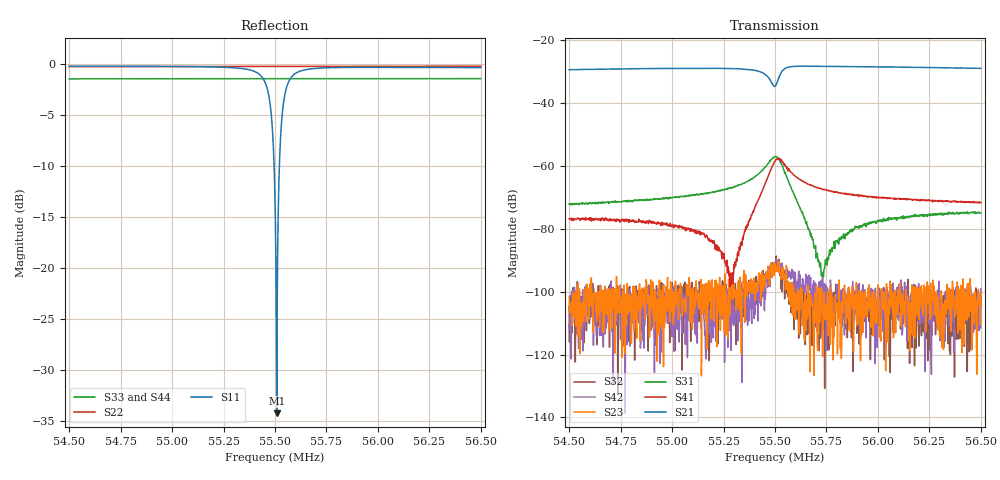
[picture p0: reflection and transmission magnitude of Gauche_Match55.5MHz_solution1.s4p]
#  HZ  S  DB  R  50.00
! Rohde & Schwarz Vector Network Analyzer
! Rohde-Schwarz,ZNB8-4Port,1311601044102961,2.82
! Created: UTC 1/15/2019, 2:38:53 PM
! freq[Hz]  db:S11  ang:S11  db:S12  ang:S12  db:S13  ang:S13  db:S14  ang:S14
!  db:S21  ang:S21  db:S22  ang:S22  db:S23  ang:S23  db:S24  ang:S24
!  db:S31  ang:S31  db:S32  ang:S32  db:S33  ang:S33  db:S34  ang:S34
!  db:S41  ang:S41  db:S42  ang:S42  db:S43  ang:S43  db:S44  ang:S44
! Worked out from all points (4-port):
!   1000 points, 54.5 MHz to 56.5 MHz, reference 50 ohm
!   strongest paths, dB at 54.5 MHz, 55.001 MHz, 55.501 MHz, 56.002 MHz, 56.5 MHz:
!     S21: -29.6, -29.2, -34.8, -28.7, -29.2
!     S41: -76.9, -79.1, -58.5, -70.2, -71.7
!     S31: -72.2, -70.1, -57.1, -77.6, -75.1
!     S23: -101.7, -106.2, -92.0, -101.4, -104.3
!     S42: -110.6, -114.3, -91.8, -102.8, -99.1
!     S32: -104.7, -97.2, -92.5, -111.0, -102.6
!   lowest |S11| = -34.3 dB at 55.509 MHz (marker M1), VSWR 1.04, Z = 51.1 - j1.64 ohm
!   |S11| at or under -10 dB: 55.4956 MHz to 55.52121 MHz (25.61 kHz wide, 0.0461 % of centre)
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5.45e7  -0.23 -54.6  -29.63 119.6  -72.16 -94.8  -76.65 -100.3
        -29.60 119.5  -0.27 113.5  -101.68 156.8  -99.01 88.7
        -72.19 -97.1  -104.71 53.6  -1.47 44.8  -103.81 -1.4
        -76.92 -99.3  -110.62 139.1  -109.84 150.6  -1.50 36.9
5.535085e7  -0.48 -112.3  -29.46 83.1  -65.54 -132.2  -81.95 23.9
            -29.41 83.1  -0.25 97.8  -96.07 14.1  -106.60 -12.6
            -65.64 -132.6  -101.50 56.3  -1.45 35.0  -111.72 -151.1
            -81.35 21.6  -100.11 -158.5  -109.98 -111.2  -1.49 26.7
5.547097e7  -3.23 -150.4  -32.37 72.5  -58.76 -165.7  -62.68 -3.0
            -32.30 72.4  -0.25 95.6  -94.96 17.9  -96.73 159.7
            -59.08 -167.1  -93.53 1.6  -1.45 33.6  -103.91 -17.7
            -62.71 -2.9  -97.68 174.1  -107.31 -136.7  -1.49 25.3
5.550901e7  -34.28 -56.3  -33.85 106.7  -57.20 146.6  -58.07 -48.9
            -33.80 106.7  -0.25 94.9  -93.05 -67.1  -93.13 105.8
            -57.32 147.3  -92.65 -44.9  -1.45 33.1  -112.05 -113.0
            -58.12 -50.3  -92.16 111.0  -107.16 -32.3  -1.49 24.8
5.554705e7  -3.10 -67.7  -29.33 103.5  -62.06 101.2  -59.47 -94.6
            -29.27 103.4  -0.25 94.2  -94.71 -84.7  -93.20 76.2
            -62.43 97.8  -102.30 -113.2  -1.45 32.7  -114.89 -159.6
            -59.56 -95.3  -96.84 54.1  -117.95 -85.6  -1.49 24.3
5.566917e7  -0.50 -105.4  -28.52 83.4  -79.80 77.3  -66.04 -129.8
            -28.48 83.4  -0.24 92.0  -125.52 158.5  -96.77 32.6
            -80.70 80.9  -106.46 -83.0  -1.45 31.3  -103.01 81.9
            -66.09 -128.4  -99.55 76.7  -101.88 60.4  -1.49 22.9
5.65e7  -0.36 -166.4  -29.21 45.5  -74.91 -162.5  -71.74 -168.8
        -29.17 45.5  -0.22 77.5  -104.30 147.1  -100.69 -17.8
        -75.07 -163.5  -102.59 89.4  -1.44 21.7  -102.99 -26.9
        -71.73 -167.6  -99.13 10.2  -109.03 -96.1  -1.49 12.9
